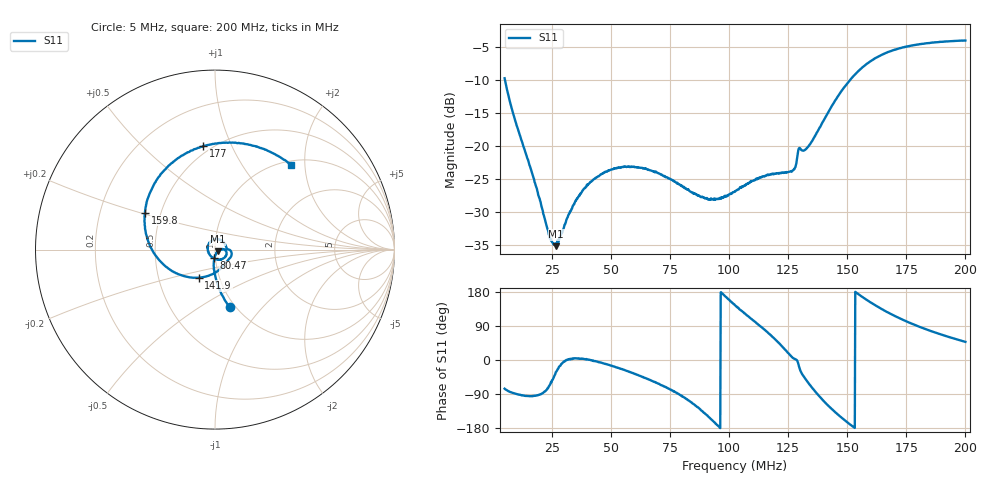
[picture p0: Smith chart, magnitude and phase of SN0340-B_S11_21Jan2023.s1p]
# Hz S DB R 50
! CMT, M5045, 22160017, 22.4.3/2
! Date: 1/21/2023 19:36:22
! Data: Format (Calibration Info)
! Freq	S11:dB/Ang(F1)
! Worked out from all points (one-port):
!   1001 points, 5 MHz to 200 MHz, reference 50 ohm
!   lowest |S11| = -35.1 dB at 26.84 MHz (marker M1), VSWR 1.04, Z = 51.5 - j0.93 ohm
!   |S11| at or under -10 dB: 5.184 MHz to 151.1 MHz (145.9 MHz wide, 187 % of centre)
!   S11 on the Smith chart (normalised r, x): 5 MHz: 0.94, -0.67; 80.47 MHz: 0.98, -0.10; 141.9 MHz: 0.80, -0.26; 159.8 MHz: 0.41, +0.21; 177 MHz: 0.45, +0.78; 200 MHz: 1.08, +1.70
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5000000  -9.68 -75.7
1.1825e7  -18.75 -92.1
2.372e7  -33.37 -69.5
2.5085e7  -34.51 -53.0
2.684e7  -35.11 -31.0
2.9375e7  -33.07 -8.6
3.464e7  -28.53 4.7
3.932e7  -26.19 1.9
4.6535e7  -24.04 -8.5
5.375e7  -23.18 -22.5
6.4865e7  -23.36 -48.4
7.8125e7  -25.51 -88.4
8.0465e7  -26.16 -97.2
9.197e7  -28.09 -153.7
1.025e8  -26.77 144.5
1.15565e8  -24.42 77.1
1.26875e8  -23.64 6.1
1.298e8  -20.23 -21.5
1.33895e8  -19.84 -63.4
1.4189e8  -14.85 -119.8
1.46765e8  -12.03 -147.9
1.5125e8  -9.91 -170.4
1.5983e8  -7.11 152.1
1.67825e8  -5.64 123.5
1.75625e8  -4.85 100.3
1.7699e8  -4.75 96.7
1.86935e8  -4.24 73.1
2e8  -3.96 47.9
